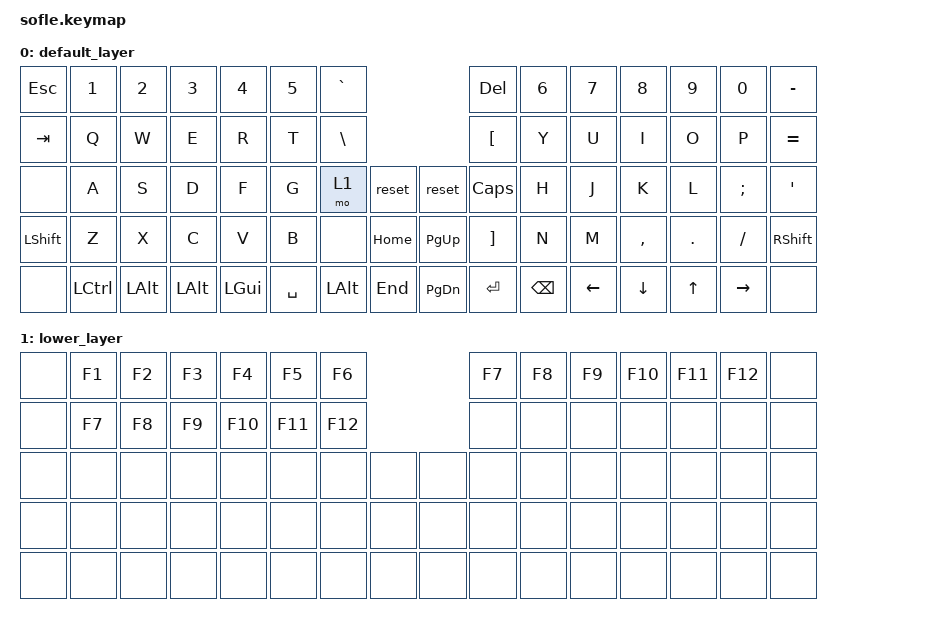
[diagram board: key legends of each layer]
/*
 * Copyright (c) 2021 The ZMK Contributors
 *
 * SPDX-License-Identifier: MIT
 */

#include <behaviors.dtsi>
#include <dt-bindings/zmk/keys.h>
#include <dt-bindings/zmk/bt.h>

/ {
    keymap {
        compatible = "zmk,keymap";

        default_layer {
            bindings = <
    &kp ESC   &kp N1   &kp N2   &kp N3 &kp N4   &kp N5 &kp GRAVE                    &kp DEL   &kp N6    &kp N7   &kp N8    &kp N9   &kp N0   &kp MINUS
    &kp TAB   &kp Q    &kp W    &kp E  &kp R    &kp T  &kp BSLH                     &kp LBKT  &kp Y     &kp U    &kp I     &kp O    &kp P    &kp EQUAL
    &none     &kp A    &kp S    &kp D  &kp F    &kp G  &mo 1    &reset      &reset  &kp CAPS  &kp H     &kp J    &kp K     &kp L    &kp SEMI &kp SQT
    &kp LSHFT &kp Z    &kp X    &kp C  &kp V    &kp B  &none    &kp HOME    &kp PG_UP  &kp RBKT  &kp N     &kp M    &kp COMMA &kp DOT  &kp FSLH &kp RSHFT
    &none     &kp LCTRL &kp LALT &kp LALT &kp LGUI     &kp SPACE   &kp LALT    &kp END     &kp PG_DN   &kp ENTER   &kp BSPC  &kp LEFT &kp DOWN  &kp UP   &kp RIGHT &none			
            >;
        };
        
        lower_layer {
            bindings = <
    &none    &kp F1  &kp F2  &kp F3  &kp F4  &kp F5  &kp F6                         &kp F7  &kp F8  &kp F9  &kp F10 &kp F11 &kp F12 &none
    &none    &kp F7  &kp F8  &kp F9  &kp F10 &kp F11 &kp F12                        &none   &none   &none   &none   &none   &none   &none
    &none    &none   &none   &none   &none   &none   &none      &none   &none       &none   &none   &none   &none   &none   &none   &none
    &none    &none   &none   &none   &none   &none   &none      &none   &none       &none   &none   &none   &none   &none   &none   &none
    &none    &none   &none   &none   &none   &none   &none      &none   &none       &none   &none   &none   &none   &none   &none   &none		    
            >;
        };
    };
};
